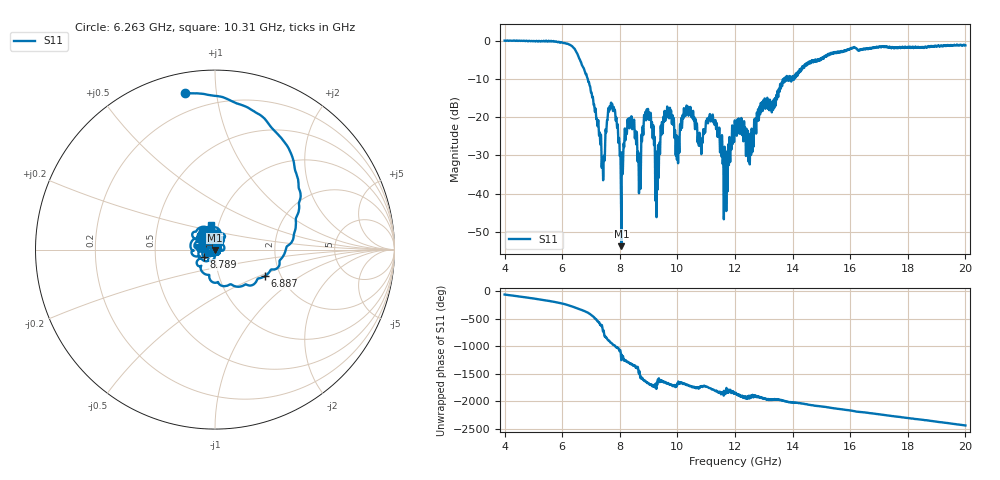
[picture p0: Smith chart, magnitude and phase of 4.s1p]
[Version] 2.0
! Rohde & Schwarz Vector Network Analyzer
! Rohde-Schwarz,ZNL20-2Port,1323001220200009,1.71.1.10-23.02.1.238
! Port Assignments:
! Nominal Port -> Actual Test Port
!  1 -> 1
! Created: GMT+2 2025-01-17 12:45:13
# Hz S RI R 50
[Number of Ports] 1
! freq[Hz]  S11[Re]  S11[Im]
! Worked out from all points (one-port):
!   16001 points, 4 GHz to 20 GHz, reference 50 ohm
!   lowest |S11| = -53.7 dB at 8.056 GHz (marker M1), VSWR 1.00, Z = 49.9 - j0.177 ohm
!   |S11| at or under -10 dB: 6.886 GHz to 13.7 GHz (6.812 GHz wide, 66.2 % of centre); 13.71194 GHz to 13.73976 GHz (27.82 MHz wide, 0.203 % of centre); 13.94132 GHz to 13.96399 GHz (22.67 MHz wide, 0.162 % of centre)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
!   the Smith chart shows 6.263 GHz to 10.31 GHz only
!   S11 on the Smith chart (normalised r, x): 6.263 GHz: 0.10, +0.82; 6.887 GHz: 1.66, -0.54; 8.789 GHz: 0.88, -0.07; 10.31 GHz: 0.93, +0.26
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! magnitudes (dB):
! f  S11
! 4 GHz  0.0
! 6 GHz  -0.5
! 6.263 GHz  -1.0
! 6.887 GHz  -10.0
! 7.401 GHz  -30.9
! 7.717 GHz  -16.7
! 7.862 GHz  -20.9
! 8 GHz  -30.1
! 8.056 GHz  -53.7
! 8.335 GHz  -22.8
! 8.66 GHz  -36.1
! 8.789 GHz  -22.6
! 9.006 GHz  -20.6
! 9.297 GHz  -29.5
! 9.488 GHz  -24.2
! 9.711 GHz  -20.2
! 10 GHz  -25.2
! 10.31 GHz  -17.0
! 10.8 GHz  -25.4
! 11.25 GHz  -21.4
! 11.67 GHz  -29.5
! 12 GHz  -21.5
! 12.54 GHz  -24.3
! 12.96 GHz  -18.4
! 14 GHz  -10.2
! 16 GHz  -2.0
! 18 GHz  -1.6
! 20 GHz  -1.2
